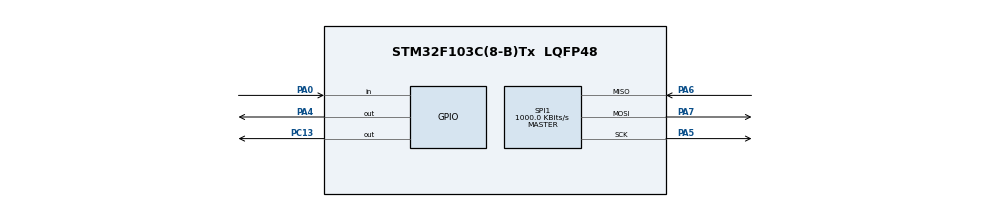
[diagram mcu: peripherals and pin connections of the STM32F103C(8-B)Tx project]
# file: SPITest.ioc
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Mcu.Family=STM32F1
Mcu.Name=STM32F103C(8-B)Tx
Mcu.Package=LQFP48
NVIC.PriorityGroup=NVIC_PRIORITYGROUP_4
PA0-WKUP.GPIO_PuPd=GPIO_PULLUP
PA0-WKUP.Signal=GPIO_Input
PA13.Mode=Serial_Wire
PA13.Signal=SYS_JTMS-SWDIO
PA14.Mode=Serial_Wire
PA14.Signal=SYS_JTCK-SWCLK
PA4.GPIO_ModeDefaultOutputPP=GPIO_MODE_OUTPUT_PP
PA4.GPIO_PuPd=GPIO_NOPULL
PA4.GPIO_Speed=GPIO_SPEED_FREQ_HIGH
PA4.PinState=GPIO_PIN_SET
PA4.Signal=GPIO_Output
PA5.Mode=Full_Duplex_Master
PA5.Signal=SPI1_SCK
PA6.Mode=Full_Duplex_Master
PA6.Signal=SPI1_MISO
PA7.Mode=Full_Duplex_Master
PA7.Signal=SPI1_MOSI
PC13-TAMPER-RTC.GPIO_ModeDefaultOutputPP=GPIO_MODE_OUTPUT_OD
PC13-TAMPER-RTC.GPIO_PuPd=GPIO_NOPULL
PC13-TAMPER-RTC.PinState=GPIO_PIN_SET
PC13-TAMPER-RTC.Signal=GPIO_Output
ProjectManager.HeapSize=0x200
ProjectManager.StackSize=0x400
ProjectManager.TargetToolchain=MDK-ARM V5.32
RCC.APB1Freq_Value=8000000
RCC.APB2Freq_Value=8000000
SPI1.BaudRatePrescaler=SPI_BAUDRATEPRESCALER_8
SPI1.CLKPhase=SPI_PHASE_1EDGE
SPI1.CLKPolarity=SPI_POLARITY_LOW
SPI1.CalculateBaudRate=1000.0 KBits/s
SPI1.Direction=SPI_DIRECTION_2LINES
SPI1.Mode=SPI_MODE_MASTER
SPI1.VirtualType=VM_MASTER
board=custom

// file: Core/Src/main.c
/* USER CODE BEGIN Header */
/**
  ******************************************************************************
  * @file           : main.c
  * @brief          : Main program body
  ******************************************************************************
  * @attention
  *
  * Copyright (c) 2025 STMicroelectronics.
  * All rights reserved.
  *
  * This software is licensed under terms that can be found in the LICENSE file
  * in the root directory of this software component.
  * If no LICENSE file comes with this software, it is provided AS-IS.
  *
  ******************************************************************************
  */
/* USER CODE END Header */
#include "main.h"

SPI_HandleTypeDef hspi1;

void SystemClock_Config(void);
static void MX_GPIO_Init(void);
static void MX_SPI1_Init(void);
/* USER CODE BEGIN PFP */
static void SaveLEDState(uint8_t ledState);
static uint8_t LoadLEDState(void);
/* USER CODE END PFP */

/* USER CODE BEGIN 0 */
static void SaveLEDState(uint8_t ledState){

	uint8_t writeEnableCmd[] = {0x06};
	HAL_GPIO_WritePin(GPIOA, GPIO_PIN_4, GPIO_PIN_RESET);
	HAL_SPI_Transmit(&hspi1, writeEnableCmd, 1, HAL_MAX_DELAY);
	HAL_GPIO_WritePin(GPIOA, GPIO_PIN_4, GPIO_PIN_SET);

	uint8_t sectorEraseCmd[] = {0x20, 0x00, 0x00, 0x00};
	HAL_GPIO_WritePin(GPIOA, GPIO_PIN_4, GPIO_PIN_RESET);
	HAL_SPI_Transmit(&hspi1, sectorEraseCmd, 4, HAL_MAX_DELAY);
	HAL_GPIO_WritePin(GPIOA, GPIO_PIN_4, GPIO_PIN_SET);
	HAL_Delay(100);

	HAL_GPIO_WritePin(GPIOA, GPIO_PIN_4, GPIO_PIN_RESET);
	HAL_SPI_Transmit(&hspi1, writeEnableCmd, 1, HAL_MAX_DELAY);
	HAL_GPIO_WritePin(GPIOA, GPIO_PIN_4, GPIO_PIN_SET);

	uint8_t pageProgCmd[5];
	pageProgCmd[0] = 0x02;
	pageProgCmd[1] = 0x00;
	pageProgCmd[2] = 0x00;
	pageProgCmd[3] = 0x00;
	pageProgCmd[4] = ledState;
	HAL_GPIO_WritePin(GPIOA, GPIO_PIN_4, GPIO_PIN_RESET);
	HAL_SPI_Transmit(&hspi1, pageProgCmd, 5, HAL_MAX_DELAY);
	HAL_GPIO_WritePin(GPIOA, GPIO_PIN_4, GPIO_PIN_SET);

	HAL_Delay(10);
}

static uint8_t LoadLEDState(void){

	uint8_t readDataCmd[] = {0x03, 0x00, 0x00, 0x00};
	uint8_t ledState = 0xff;
	HAL_GPIO_WritePin(GPIOA, GPIO_PIN_4, GPIO_PIN_RESET);
	HAL_SPI_Transmit(&hspi1, readDataCmd, 4, HAL_MAX_DELAY);
	HAL_SPI_Receive(&hspi1, &ledState, 1, HAL_MAX_DELAY);
	HAL_GPIO_WritePin(GPIOA, GPIO_PIN_4, GPIO_PIN_SET);

	return ledState;
}
/* USER CODE END 0 */

int main(void)
{

  /* MCU Configuration--------------------------------------------------------*/

  /* Reset of all peripherals, Initializes the Flash interface and the Systick. */
  HAL_Init();

  /* Configure the system clock */
  SystemClock_Config();

  /* Initialize all configured peripherals */
  MX_GPIO_Init();
  MX_SPI1_Init();

  /* Infinite loop */
  /* USER CODE BEGIN WHILE */
	uint8_t pre = 1, cur = 1;
	uint8_t ledState = 0;

	ledState = LoadLEDState();

	if(ledState == 1){

	 HAL_GPIO_WritePin(GPIOC, GPIO_PIN_13, GPIO_PIN_RESET);
	}
	else{

	 HAL_GPIO_WritePin(GPIOC, GPIO_PIN_13, GPIO_PIN_SET);
	}
  while (1)
  {
		pre = cur;
		if(HAL_GPIO_ReadPin(GPIOA, GPIO_PIN_0) == GPIO_PIN_SET){
			cur = 1;
		}
		else{
			cur = 0;
		}

		if(pre != cur){

			HAL_Delay(10);
			if(cur == 0){}
			else{

				if(ledState ==1){

					HAL_GPIO_WritePin(GPIOC, GPIO_PIN_13, GPIO_PIN_SET);
					ledState = 0;
				}
				else{

					HAL_GPIO_WritePin(GPIOC, GPIO_PIN_13, GPIO_PIN_RESET);
					ledState = 1;

				}
				SaveLEDState(ledState);
			}
		}
    /* USER CODE END WHILE */

  }
}

void SystemClock_Config(void)
{
  RCC_OscInitTypeDef RCC_OscInitStruct = {0};
  RCC_ClkInitTypeDef RCC_ClkInitStruct = {0};

  /** Initializes the RCC Oscillators according to the specified parameters
  * in the RCC_OscInitTypeDef structure.
  */
  RCC_OscInitStruct.OscillatorType = RCC_OSCILLATORTYPE_HSI;
  RCC_OscInitStruct.HSIState = RCC_HSI_ON;
  RCC_OscInitStruct.HSICalibrationValue = RCC_HSICALIBRATION_DEFAULT;
  RCC_OscInitStruct.PLL.PLLState = RCC_PLL_NONE;
  if (HAL_RCC_OscConfig(&RCC_OscInitStruct) != HAL_OK)
  {
    Error_Handler();
  }

  /** Initializes the CPU, AHB and APB buses clocks
  */
  RCC_ClkInitStruct.ClockType = RCC_CLOCKTYPE_HCLK|RCC_CLOCKTYPE_SYSCLK
                              |RCC_CLOCKTYPE_PCLK1|RCC_CLOCKTYPE_PCLK2;
  RCC_ClkInitStruct.SYSCLKSource = RCC_SYSCLKSOURCE_HSI;
  RCC_ClkInitStruct.AHBCLKDivider = RCC_SYSCLK_DIV1;
  RCC_ClkInitStruct.APB1CLKDivider = RCC_HCLK_DIV1;
  RCC_ClkInitStruct.APB2CLKDivider = RCC_HCLK_DIV1;

  if (HAL_RCC_ClockConfig(&RCC_ClkInitStruct, FLASH_LATENCY_0) != HAL_OK)
  {
    Error_Handler();
  }
}

static void MX_SPI1_Init(void)
{

  /* SPI1 parameter configuration*/
  hspi1.Instance = SPI1;
  hspi1.Init.Mode = SPI_MODE_MASTER;
  hspi1.Init.Direction = SPI_DIRECTION_2LINES;
  hspi1.Init.DataSize = SPI_DATASIZE_8BIT;
  hspi1.Init.CLKPolarity = SPI_POLARITY_LOW;
  hspi1.Init.CLKPhase = SPI_PHASE_1EDGE;
  hspi1.Init.NSS = SPI_NSS_SOFT;
  hspi1.Init.BaudRatePrescaler = SPI_BAUDRATEPRESCALER_8;
  hspi1.Init.FirstBit = SPI_FIRSTBIT_MSB;
  hspi1.Init.TIMode = SPI_TIMODE_DISABLE;
  hspi1.Init.CRCCalculation = SPI_CRCCALCULATION_DISABLE;
  hspi1.Init.CRCPolynomial = 10;
  if (HAL_SPI_Init(&hspi1) != HAL_OK)
  {
    Error_Handler();
  }

}

static void MX_GPIO_Init(void)
{
  GPIO_InitTypeDef GPIO_InitStruct = {0};

  /* GPIO Ports Clock Enable */
  __HAL_RCC_GPIOC_CLK_ENABLE();
  __HAL_RCC_GPIOA_CLK_ENABLE();

  /*Configure GPIO pin Output Level */
  HAL_GPIO_WritePin(GPIOC, GPIO_PIN_13, GPIO_PIN_SET);

  /*Configure GPIO pin Output Level */
  HAL_GPIO_WritePin(GPIOA, GPIO_PIN_4, GPIO_PIN_SET);

  /*Configure GPIO pin : PC13 */
  GPIO_InitStruct.Pin = GPIO_PIN_13;
  GPIO_InitStruct.Mode = GPIO_MODE_OUTPUT_OD;
  GPIO_InitStruct.Pull = GPIO_NOPULL;
  GPIO_InitStruct.Speed = GPIO_SPEED_FREQ_LOW;
  HAL_GPIO_Init(GPIOC, &GPIO_InitStruct);

  /*Configure GPIO pin : PA0 */
  GPIO_InitStruct.Pin = GPIO_PIN_0;
  GPIO_InitStruct.Mode = GPIO_MODE_INPUT;
  GPIO_InitStruct.Pull = GPIO_PULLUP;
  HAL_GPIO_Init(GPIOA, &GPIO_InitStruct);

  /*Configure GPIO pin : PA4 */
  GPIO_InitStruct.Pin = GPIO_PIN_4;
  GPIO_InitStruct.Mode = GPIO_MODE_OUTPUT_PP;
  GPIO_InitStruct.Pull = GPIO_NOPULL;
  GPIO_InitStruct.Speed = GPIO_SPEED_FREQ_HIGH;
  HAL_GPIO_Init(GPIOA, &GPIO_InitStruct);

}

void Error_Handler(void)
{
  __disable_irq();
  while (1)
  {
  }
}
